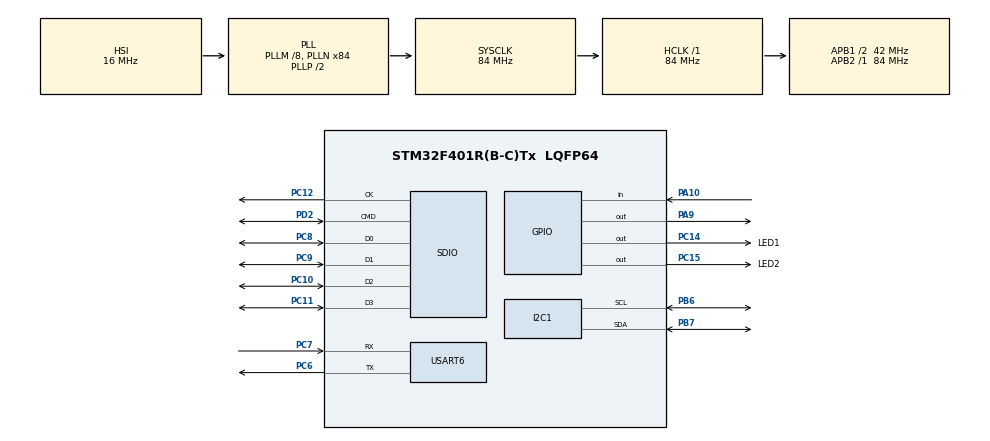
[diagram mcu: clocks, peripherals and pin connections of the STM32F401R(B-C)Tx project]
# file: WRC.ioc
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I2C1.I2C_Mode=I2C_Fast
Mcu.Family=STM32F4
Mcu.Name=STM32F401R(B-C)Tx
Mcu.Package=LQFP64
NVIC.PriorityGroup=NVIC_PRIORITYGROUP_4
NVIC.USART6_IRQn=true\:0\:0\:false\:false\:true\:true
PA10.Signal=GPIO_Input
PA13.Mode=Serial_Wire
PA13.Signal=SYS_JTMS-SWDIO
PA14.Mode=Serial_Wire
PA14.Signal=SYS_JTCK-SWCLK
PA9.Signal=GPIO_Output
PB6.Mode=I2C
PB6.Signal=I2C1_SCL
PB7.Mode=I2C
PB7.Signal=I2C1_SDA
PC10.GPIO_PuPd=GPIO_PULLUP
PC10.Mode=SD_4_bits_Wide_bus
PC10.Signal=SDIO_D2
PC11.GPIO_PuPd=GPIO_PULLUP
PC11.Mode=SD_4_bits_Wide_bus
PC11.Signal=SDIO_D3
PC12.GPIO_PuPd=GPIO_PULLUP
PC12.Mode=SD_4_bits_Wide_bus
PC12.Signal=SDIO_CK
PC14-OSC32_IN.GPIO_Label=LED1
PC14-OSC32_IN.Signal=GPIO_Output
PC15-OSC32_OUT.GPIO_Label=LED2
PC15-OSC32_OUT.Signal=GPIO_Output
PC6.Mode=Asynchronous
PC6.Signal=USART6_TX
PC7.Mode=Asynchronous
PC7.Signal=USART6_RX
PC8.GPIO_PuPd=GPIO_PULLUP
PC8.Mode=SD_4_bits_Wide_bus
PC8.Signal=SDIO_D0
PC9.GPIO_PuPd=GPIO_PULLUP
PC9.Mode=SD_4_bits_Wide_bus
PC9.Signal=SDIO_D1
PD2.GPIO_PuPd=GPIO_PULLUP
PD2.Mode=SD_4_bits_Wide_bus
PD2.Signal=SDIO_CMD
ProjectManager.HeapSize=0x200
ProjectManager.StackSize=0x400
ProjectManager.TargetToolchain=TrueSTUDIO
RCC.48MHZClocksFreq_Value=42000000
RCC.AHBFreq_Value=84000000
RCC.APB1CLKDivider=RCC_HCLK_DIV2
RCC.APB1Freq_Value=42000000
RCC.APB1TimFreq_Value=84000000
RCC.APB2Freq_Value=84000000
RCC.APB2TimFreq_Value=84000000
RCC.CortexFreq_Value=84000000
RCC.HCLKFreq_Value=84000000
RCC.HSE_VALUE=25000000
RCC.HSI_VALUE=16000000
RCC.LSE_VALUE=32768
RCC.PLLM=8
RCC.PLLN=84
RCC.SYSCLKFreq_VALUE=84000000
RCC.SYSCLKSource=RCC_SYSCLKSOURCE_PLLCLK
RCC.VCOOutputFreq_Value=168000000
SDIO.ClockDiv=5
TIM1.Period=65535
TIM1.Prescaler=84
USART6.VirtualMode=VM_ASYNC
VP_FATFS_VS_SDIO.Mode=SDIO
VP_TIM1_VS_ClockSourceINT.Mode=Internal
board=WRC

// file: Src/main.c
/* USER CODE BEGIN Header */
/**
  ******************************************************************************
  * @file           : main.c
  * @brief          : Main program body
  ******************************************************************************
  * This notice applies to any and all portions of this file
  * that are not between comment pairs USER CODE BEGIN and
  * USER CODE END. Other portions of this file, whether
  * inserted by the user or by software development tools
  * are owned by their respective copyright owners.
  *
  * Copyright (c) 2019 STMicroelectronics International N.V.
  * All rights reserved.
  *
  * Redistribution and use in source and binary forms, with or without
  * modification, are permitted, provided that the following conditions are met:
  *
  * 1. Redistribution of source code must retain the above copyright notice,
  *    this list of conditions and the following disclaimer.
  * 2. Redistributions in binary form must reproduce the above copyright notice,
  *    this list of conditions and the following disclaimer in the documentation
  *    and/or other materials provided with the distribution.
  * 3. Neither the name of STMicroelectronics nor the names of other
  *    contributors to this software may be used to endorse or promote products
  *    derived from this software without specific written permission.
  * 4. This software, including modifications and/or derivative works of this
  *    software, must execute solely and exclusively on microcontroller or
  *    microprocessor devices manufactured by or for STMicroelectronics.
  * 5. Redistribution and use of this software other than as permitted under
  *    this license is void and will automatically terminate your rights under
  *    this license.
  *
  * THIS SOFTWARE IS PROVIDED BY STMICROELECTRONICS AND CONTRIBUTORS "AS IS"
  * AND ANY EXPRESS, IMPLIED OR STATUTORY WARRANTIES, INCLUDING, BUT NOT
  * LIMITED TO, THE IMPLIED WARRANTIES OF MERCHANTABILITY, FITNESS FOR A
  * PARTICULAR PURPOSE AND NON-INFRINGEMENT OF THIRD PARTY INTELLECTUAL PROPERTY
  * RIGHTS ARE DISCLAIMED TO THE FULLEST EXTENT PERMITTED BY LAW. IN NO EVENT
  * SHALL STMICROELECTRONICS OR CONTRIBUTORS BE LIABLE FOR ANY DIRECT, INDIRECT,
  * INCIDENTAL, SPECIAL, EXEMPLARY, OR CONSEQUENTIAL DAMAGES (INCLUDING, BUT NOT
  * LIMITED TO, PROCUREMENT OF SUBSTITUTE GOODS OR SERVICES; LOSS OF USE, DATA,
  * OR PROFITS; OR BUSINESS INTERRUPTION) HOWEVER CAUSED AND ON ANY THEORY OF
  * LIABILITY, WHETHER IN CONTRACT, STRICT LIABILITY, OR TORT (INCLUDING
  * NEGLIGENCE OR OTHERWISE) ARISING IN ANY WAY OUT OF THE USE OF THIS SOFTWARE,
  * EVEN IF ADVISED OF THE POSSIBILITY OF SUCH DAMAGE.
  *
  ******************************************************************************
  */
  /* USER CODE END Header */

  /* Includes ------------------------------------------------------------------*/
#include "main.h"
#include "fatfs.h"

/* USER CODE BEGIN Includes */
#include "I2C.h"
#define UART_DEBUG	0	//取得したデータををUARTで送信するかどうか 0:送信しない 1:送信する　（初期化中は常に送信） 0の時はSDカードに記録はしない
#define WIRELESS 1		//無線で制御するかどうか	0:制御しない 1:制御する
#define WRC_VERSION 1.0 //バージョン
#define P0 1013.25		//海面気圧

/* USER CODE END Includes */

I2C_HandleTypeDef hi2c1;

SD_HandleTypeDef hsd;

TIM_HandleTypeDef htim1;

UART_HandleTypeDef huart6;

/* USER CODE BEGIN PV */
/* Private variables ---------------------------------------------------------*/
#ifdef __GNUC__
#define PUTCHAR_PROTOTYPE int __io_putchar(int ch)
#else
#define PUTCHAR_PROTOTYPE int fputc(int ch, FILE *f)
#endif /* __GNUC__ */
void __io_putchar(uint8_t ch) {
	HAL_UART_Transmit(&huart6, &ch, 1, 1);
}
/* USER CODE END PV */

void SystemClock_Config(void);
static void MX_GPIO_Init(void);
static void MX_SDIO_SD_Init(void);
static void MX_USART6_UART_Init(void);
static void MX_I2C1_Init(void);
static void MX_TIM1_Init(void);
/* USER CODE BEGIN PFP */
/* Private function prototypes -----------------------------------------------*/

/* USER CODE END PFP */

/* USER CODE BEGIN 0 */

uint8_t uart_rx_data;
uint8_t control_state = 0;

void HAL_UART_RxCpltCallback(UART_HandleTypeDef *huart6) {
	control_state = 1;
	if (uart_rx_data == 'R')control_state = 100;
	if (uart_rx_data == 'S')control_state = 101;
	if (uart_rx_data == 'H')control_state = 102;

	if (uart_rx_data == '0') {
		HAL_GPIO_WritePin(GPIOA, GPIO_PIN_9, GPIO_PIN_RESET);
		control_state = 103;
	}
	if (uart_rx_data == '1') {
		HAL_GPIO_WritePin(GPIOA, GPIO_PIN_9, GPIO_PIN_SET);
		control_state = 104;
	}

}

/* USER CODE END 0 */

int main(void) {
	/* USER CODE BEGIN 1 */
	uint8_t pData;

	/* USER CODE END 1 */

	/* MCU Configuration--------------------------------------------------------*/

	/* Reset of all peripherals, Initializes the Flash interface and the Systick. */
	HAL_Init();

	/* Configure the system clock */
	SystemClock_Config();

	/* Initialize all configured peripherals */
	MX_GPIO_Init();
	MX_SDIO_SD_Init();
	MX_USART6_UART_Init();
	MX_I2C1_Init();
	MX_FATFS_Init();
	MX_TIM1_Init();
	/* USER CODE BEGIN 2 */
	HAL_GPIO_WritePin(GPIOA, GPIO_PIN_9, GPIO_PIN_RESET);

	HAL_Delay(250);
	printf("\033[49m\033[36m\033[2J\033[0;0H");
	HAL_Delay(250);
	printf("Water rocket computer Ver%3.2f\n\033[39m", WRC_VERSION);
	printf("\033[39mSystem Initializing.");
	printf(".");

	//AK8963起動
	pData = 0x00; HAL_I2C_Mem_Write(&hi2c1, MPU9250_WRITE, MPU9250_PWR_MGMT_1, 1, &pData, 1, 100);
	pData = 0x02; HAL_I2C_Mem_Write(&hi2c1, MPU9250_WRITE, MPU9250_INT_PIN_CFG, 1, &pData, 1, 100);

	//MPU9250設定
	pData = 0b00001000; HAL_I2C_Mem_Write(&hi2c1, MPU9250_WRITE, MPU9250_GYRO_CONFIG, 1, &pData, 1, 100);//±500dps		43   00:±250 01:±500 10:±1000 11:±2000
	pData = 0b00011000; HAL_I2C_Mem_Write(&hi2c1, MPU9250_WRITE, MPU9250_ACCEL_CONFIG, 1, &pData, 1, 100);//±16G

	//AK8963設定
	pData = 0b00010110; HAL_I2C_Mem_Write(&hi2c1, AK8963_WRITE, AK8963_CNTL1, 1, &pData, 1, 100);//連続測定モード 100Hz

	//LPS25H設定
	pData = 0b11000000; HAL_I2C_Mem_Write(&hi2c1, LPS25H_WRITE, LPS25H_CTRL_REG1, 1, &pData, 1, 100);//25Hz

	//ADXL375設定
	pData = 0x08; HAL_I2C_Mem_Write(&hi2c1, ADXL375_WRITE, ADXL375_POWER_CTL, 1, &pData, 1, 100);//スリープ解除
	pData = 0x0B; HAL_I2C_Mem_Write(&hi2c1, ADXL375_WRITE, ADXL375_DATA_FORMAT, 1, &pData, 1, 100);//データ右詰め
	pData = 0b00001010; HAL_I2C_Mem_Write(&hi2c1, ADXL375_WRITE, ADXL375_BW_RATE, 1, &pData, 1, 100);//100Hz
	printf(".");

	printf("Done\n");

	//Who am I
	printf("Check I2C devices..");

	//セルフテスト
	while (1) {
		HAL_I2C_Mem_Read(&hi2c1, LPS25H_READ, LPS25H_WHO_AM_I, 1, &pData, 1, 100);
		if (pData != 0xBD)continue;
		HAL_I2C_Mem_Read(&hi2c1, MPU9250_READ, MPU9250_WHO_AM_I, 1, &pData, 1, 100);
		if (pData != 0x71)continue;
		HAL_I2C_Mem_Read(&hi2c1, AK8963_READ, AK8963_WIA, 1, &pData, 1, 100);
		if (pData != 0x48)continue;
		HAL_I2C_Mem_Read(&hi2c1, ADXL375_READ, ADXL375_DEVID, 1, &pData, 1, 100);
		if (pData != 0xE5)continue;
		HAL_Delay(250);
		printf(".");
		break;
	}
	printf("Successful\n");

	printf("SD card Initializing...");

	HAL_TIM_Base_Start(&htim1);
	HAL_Delay(100);

	//SDカード初期化
	FRESULT res;
	FATFS fs;
	DIR dir;
	FIL fil;
	char buf[128];
	int ret;
	const int MAX_FILE = 100;
	unsigned int c = 0;
	//SDカードを初期化できるまで待つ
	do {
		res = f_mount(&fs, "", 1);
		if (res != FR_OK) {
			printf("\033[5;0H\033[41m\033[2Kf_mount() : error %u", res);
			HAL_Delay(120);
		}

		res = f_opendir(&dir, "");
		if (res != FR_OK) {
			printf("\033[6;0H\033[41m\033[2Kf_opendir() : error %u", res);
			HAL_Delay(120);
		}
		HAL_Delay(800);
	} while (res != FR_OK);
	printf("\033[5;0H\033[49m\033[2K");
	HAL_Delay(120);
	printf("\033[6;0H\033[49m\033[2K");
	HAL_Delay(120);
	printf("\033[4;26H\033[49mSuccessful\n");

	//新しいファイルを作成
	for (c = 0; c < MAX_FILE; c++) {
		char path[30];
		sprintf(path, "%d.csv", c);
		res = f_open(&fil, path, FA_CREATE_NEW | FA_WRITE);
		if (res == FR_OK) {
			printf("\033[5;0H\033[49m\033[39m\033[2KFile Name : %d.csv", c);
			break;
		}
		if (c == MAX_FILE - 1) {
			res = f_open(&fil, "_.csv", FA_CREATE_ALWAYS | FA_WRITE);
			if (res != FR_OK) {
				printf("\033[5;0H\033[41m\033[2Kf_open() : error %u", res);
				HAL_Delay(120);
			} else {
				printf("\033[5;0H\033[49m\033[39m\033[2KFile Name : _.csv");
				HAL_Delay(120);
			}
		}
	}
	HAL_GPIO_WritePin(LED1_GPIO_Port, LED1_Pin, GPIO_PIN_SET);	//緑点灯　SD初期化完了

	char str[1024];
	sprintf(str, "dt[ns],press[hPa],temp[deg celsius],ax[m/s^2],ay[m/s^2],az[m/s^2],gx[deg/s],gy[deg/s],gz[deg/s],mx,my,mz,Ax[m/s^2],Ay[m/s^2],Az[m/s^2],servo,V,I\n");
	ret = f_puts(str, &fil);
	f_sync(&fil);

	printf("\033[6;0H\033[49m\033[39m\033[2K 0:LED Normal\n 1:LED Gameing\n R:Start\n S:Stop \n H:Set the current altitude to 0 m");

	HAL_UART_Receive_IT(&huart6, (uint8_t *)&uart_rx_data, 1);
	HAL_GPIO_WritePin(GPIOA, GPIO_PIN_9, GPIO_PIN_RESET);
	while (1) {
		if (control_state != 0)HAL_UART_Receive_IT(&huart6, (uint8_t *)&uart_rx_data, 1);
		if (control_state == 100)break;

	}

	HAL_GPIO_WritePin(GPIOA, GPIO_PIN_9, GPIO_PIN_SET);

	/* USER CODE END 2 */

	/* Infinite loop */
	/* USER CODE BEGIN WHILE */
	int t = 0, n = 0;
	TIM1->CNT = 0;
	double height, height_offset = 0;
	while (1) {
		/* USER CODE END WHILE */

		/* USER CODE BEGIN 3 */
		uint8_t data[18], servo;
		uint32_t	press;
		int16_t	temp, ax, ay, az, gx, gy, gz, mx, my, mz, Ax, Ay, Az;
		double	press_d, temp_d, ax_d, ay_d, az_d, gx_d, gy_d, gz_d, mx_d, my_d, mz_d, Ax_d, Ay_d, Az_d;

		//気圧
		press = 0;
		HAL_I2C_Mem_Read(&hi2c1, LPS25H_READ, LPS25H_PRESS_OUT_H, 1, &data, 1, 100);
		press = data[0] << 16;
		HAL_I2C_Mem_Read(&hi2c1, LPS25H_READ, LPS25H_PRESS_OUT_L, 1, &data, 1, 100);
		press |= data[0] << 8;
		HAL_I2C_Mem_Read(&hi2c1, LPS25H_READ, LPS25H_PRESS_OUT_XL, 1, &data, 1, 100);
		press |= data[0];
		press_d = (double)press / 4096.0;

		//気温
		HAL_I2C_Mem_Read(&hi2c1, LPS25H_READ, LPS25H_TEMP_OUT_H, 1, &data, 1, 100);
		temp = data[0] << 8;
		HAL_I2C_Mem_Read(&hi2c1, LPS25H_READ, LPS25H_TEMP_OUT_L, 1, &data, 1, 100);
		temp |= data[0];
		temp_d = (double)temp / 480 + 42.5;

		//9軸センサ
		HAL_I2C_Mem_Read(&hi2c1, MPU9250_READ, MPU9250_ACCEL_XOUT_H, 1, &data, 14, 100);
		ax = (data[0] << 8) | data[1];
		ay = (data[2] << 8) | data[3];
		az = (data[4] << 8) | data[5];
		gx = (data[8] << 8) | data[9];
		gy = (data[10] << 8) | data[11];
		gz = (data[12] << 8) | data[13];

		HAL_I2C_Mem_Read(&hi2c1, AK8963_READ, AK8963_HXL, 1, &data, 7, 100);
		my = data[0] | (data[1] << 8);
		mx = data[2] | (data[3] << 8);
		mz = data[4] | (data[5] << 8);
		mx *= -1;
		my *= -1;
		mz *= -1;

		ax_d = (double)ax *GRAVITY * 0.488 / 1000 * (-1.0);
		ay_d = (double)ay *GRAVITY * 0.488 / 1000 * (-1.0);
		az_d = (double)az *GRAVITY * 0.488 / 1000;
		gx_d = (double)gx * 0.01526* (-1.0);
		gy_d = (double)gy * 0.01526* (-1.0);
		gz_d = (double)gz * 0.01526;

		//加速度センサ
		HAL_I2C_Mem_Read(&hi2c1, ADXL375_READ, ADXL375_DATAX0, 1, &data, 6, 100);
		Ax = data[0] | (data[1] << 8);
		Ay = data[2] | (data[3] << 8);
		Az = data[4] | (data[5] << 8);
		Ax_d = (double)Ax *GRAVITY * 49 / 1000 * (-1.0);
		Ay_d = (double)Ay *GRAVITY * 49 / 1000 * (-1.0);
		Az_d = (double)Az *GRAVITY * 49 / 1000;

		//サーボ
		servo = HAL_GPIO_ReadPin(GPIOA, GPIO_PIN_10);

		//地上からの制御を処理する
		if (control_state != 0) {
			HAL_UART_Receive_IT(&huart6, (uint8_t *)&uart_rx_data, 1);
		}
		if (control_state == 101) {
			HAL_GPIO_WritePin(GPIOA, GPIO_PIN_9, GPIO_PIN_RESET);
			control_state = 0;
			break;
		}
		if (control_state == 102) {
			control_state = 0;
			height_offset = height;
		}
		if (control_state >= 100) {
			control_state = 0;
		}
		if (n == 20) {
			height = (((pow(P0 / press_d, 1 / 5.257) - 1)*(temp_d + 273.15)) / 0.0065) - height_offset;
		}
		if (n == 30) {
			printf("\033[10;0H\033[49m\033[33m\033[2K %d  %.1fm", servo,height);
		}
		if (n == 40) {
			printf("\033[30m ,%f,%f,%f,%f,%f,%f\n",
				Ax_d,
				Ay_d,
				Az_d,
				gx_d,
				gy_d,
				gz_d);
		}

		while (TIM1->CNT < 10000)
			;// 1/100sたつまで待つ
		t = TIM1->CNT;
		TIM1->CNT = 0;//タイマーを0にする
		sprintf(str,
			"%d,%f,%f,%f,%f,%f,%f,%f,%f,%d,%d,%d,%f,%f,%f,%d\n",
			t,
			press_d,
			temp_d,
			ax_d,
			ay_d,
			az_d,
			gx_d,
			gy_d,
			gz_d,
			mx,
			my,
			mz,
			Ax_d,
			Ay_d,
			Az_d,
			servo);

		n++;
		ret = f_puts(str, &fil);
		if (ret == EOF) {
			printf("\nf_puts() : error \n");
		}
		if (n == 50) {
			ret = f_sync(&fil);
			if (ret == FR_OK)HAL_GPIO_TogglePin(LED2_GPIO_Port, LED2_Pin);
			n = 0;

		}
	}
	while(1){

		if (HAL_UART_Receive(&huart6, (uint8_t *)&uart_rx_data, 1, 100) == HAL_OK) {
			if (uart_rx_data == '0') {
				HAL_GPIO_WritePin(GPIOA, GPIO_PIN_9, GPIO_PIN_RESET);
				control_state = 0;
			}
			if (uart_rx_data == '1') {
				HAL_GPIO_WritePin(GPIOA, GPIO_PIN_9, GPIO_PIN_SET);
				control_state = 0;
			}
		}
	}
	/* USER CODE END 3 */

}

void SystemClock_Config(void) {
	RCC_OscInitTypeDef RCC_OscInitStruct = { 0 };
	RCC_ClkInitTypeDef RCC_ClkInitStruct = { 0 };

	/**Configure the main internal regulator output voltage
	*/
	__HAL_RCC_PWR_CLK_ENABLE();
	__HAL_PWR_VOLTAGESCALING_CONFIG(PWR_REGULATOR_VOLTAGE_SCALE2);
	/**Initializes the CPU, AHB and APB busses clocks
	*/
	RCC_OscInitStruct.OscillatorType = RCC_OSCILLATORTYPE_HSI;
	RCC_OscInitStruct.HSIState = RCC_HSI_ON;
	RCC_OscInitStruct.HSICalibrationValue = RCC_HSICALIBRATION_DEFAULT;
	RCC_OscInitStruct.PLL.PLLState = RCC_PLL_ON;
	RCC_OscInitStruct.PLL.PLLSource = RCC_PLLSOURCE_HSI;
	RCC_OscInitStruct.PLL.PLLM = 8;
	RCC_OscInitStruct.PLL.PLLN = 84;
	RCC_OscInitStruct.PLL.PLLP = RCC_PLLP_DIV2;
	RCC_OscInitStruct.PLL.PLLQ = 4;
	if (HAL_RCC_OscConfig(&RCC_OscInitStruct) != HAL_OK) {
		Error_Handler();
	}
	/**Initializes the CPU, AHB and APB busses clocks
	*/
	RCC_ClkInitStruct.ClockType = RCC_CLOCKTYPE_HCLK | RCC_CLOCKTYPE_SYSCLK
		| RCC_CLOCKTYPE_PCLK1 | RCC_CLOCKTYPE_PCLK2;
	RCC_ClkInitStruct.SYSCLKSource = RCC_SYSCLKSOURCE_PLLCLK;
	RCC_ClkInitStruct.AHBCLKDivider = RCC_SYSCLK_DIV1;
	RCC_ClkInitStruct.APB1CLKDivider = RCC_HCLK_DIV2;
	RCC_ClkInitStruct.APB2CLKDivider = RCC_HCLK_DIV1;

	if (HAL_RCC_ClockConfig(&RCC_ClkInitStruct, FLASH_LATENCY_2) != HAL_OK) {
		Error_Handler();
	}
}

static void MX_I2C1_Init(void) {

	hi2c1.Instance = I2C1;
	hi2c1.Init.ClockSpeed = 400000;
	hi2c1.Init.DutyCycle = I2C_DUTYCYCLE_2;
	hi2c1.Init.OwnAddress1 = 0;
	hi2c1.Init.AddressingMode = I2C_ADDRESSINGMODE_7BIT;
	hi2c1.Init.DualAddressMode = I2C_DUALADDRESS_DISABLE;
	hi2c1.Init.OwnAddress2 = 0;
	hi2c1.Init.GeneralCallMode = I2C_GENERALCALL_DISABLE;
	hi2c1.Init.NoStretchMode = I2C_NOSTRETCH_DISABLE;
	if (HAL_I2C_Init(&hi2c1) != HAL_OK) {
		Error_Handler();
	}

}

static void MX_SDIO_SD_Init(void) {

	hsd.Instance = SDIO;
	hsd.Init.ClockEdge = SDIO_CLOCK_EDGE_RISING;
	hsd.Init.ClockBypass = SDIO_CLOCK_BYPASS_DISABLE;
	hsd.Init.ClockPowerSave = SDIO_CLOCK_POWER_SAVE_DISABLE;
	hsd.Init.BusWide = SDIO_BUS_WIDE_1B;
	hsd.Init.HardwareFlowControl = SDIO_HARDWARE_FLOW_CONTROL_DISABLE;
	hsd.Init.ClockDiv = 5;

}

static void MX_TIM1_Init(void) {

	TIM_ClockConfigTypeDef sClockSourceConfig = { 0 };
	TIM_MasterConfigTypeDef sMasterConfig = { 0 };

	htim1.Instance = TIM1;
	htim1.Init.Prescaler = 84;
	htim1.Init.CounterMode = TIM_COUNTERMODE_UP;
	htim1.Init.Period = 65535;
	htim1.Init.ClockDivision = TIM_CLOCKDIVISION_DIV1;
	htim1.Init.RepetitionCounter = 0;
	if (HAL_TIM_Base_Init(&htim1) != HAL_OK) {
		Error_Handler();
	}
	sClockSourceConfig.ClockSource = TIM_CLOCKSOURCE_INTERNAL;
	if (HAL_TIM_ConfigClockSource(&htim1, &sClockSourceConfig) != HAL_OK) {
		Error_Handler();
	}
	sMasterConfig.MasterOutputTrigger = TIM_TRGO_RESET;
	sMasterConfig.MasterSlaveMode = TIM_MASTERSLAVEMODE_DISABLE;
	if (HAL_TIMEx_MasterConfigSynchronization(&htim1, &sMasterConfig) != HAL_OK) {
		Error_Handler();
	}

}

static void MX_USART6_UART_Init(void) {

	huart6.Instance = USART6;
	huart6.Init.BaudRate = 115200;
	huart6.Init.WordLength = UART_WORDLENGTH_8B;
	huart6.Init.StopBits = UART_STOPBITS_1;
	huart6.Init.Parity = UART_PARITY_NONE;
	huart6.Init.Mode = UART_MODE_TX_RX;
	huart6.Init.HwFlowCtl = UART_HWCONTROL_NONE;
	huart6.Init.OverSampling = UART_OVERSAMPLING_16;
	if (HAL_UART_Init(&huart6) != HAL_OK) {
		Error_Handler();
	}

}

static void MX_GPIO_Init(void) {
	GPIO_InitTypeDef GPIO_InitStruct = { 0 };

	/* GPIO Ports Clock Enable */
	__HAL_RCC_GPIOC_CLK_ENABLE();
	__HAL_RCC_GPIOA_CLK_ENABLE();
	__HAL_RCC_GPIOD_CLK_ENABLE();
	__HAL_RCC_GPIOB_CLK_ENABLE();

	/*Configure GPIO pin Output Level */
	HAL_GPIO_WritePin(GPIOC, LED1_Pin | LED2_Pin, GPIO_PIN_RESET);

	/*Configure GPIO pin Output Level */
	HAL_GPIO_WritePin(GPIOA, GPIO_PIN_9, GPIO_PIN_RESET);

	/*Configure GPIO pins : LED1_Pin LED2_Pin */
	GPIO_InitStruct.Pin = LED1_Pin | LED2_Pin;
	GPIO_InitStruct.Mode = GPIO_MODE_OUTPUT_PP;
	GPIO_InitStruct.Pull = GPIO_NOPULL;
	GPIO_InitStruct.Speed = GPIO_SPEED_FREQ_LOW;
	HAL_GPIO_Init(GPIOC, &GPIO_InitStruct);

	/*Configure GPIO pin : PA9 */
	GPIO_InitStruct.Pin = GPIO_PIN_9;
	GPIO_InitStruct.Mode = GPIO_MODE_OUTPUT_PP;
	GPIO_InitStruct.Pull = GPIO_NOPULL;
	GPIO_InitStruct.Speed = GPIO_SPEED_FREQ_LOW;
	HAL_GPIO_Init(GPIOA, &GPIO_InitStruct);

	/*Configure GPIO pin : PA10 */
	GPIO_InitStruct.Pin = GPIO_PIN_10;
	GPIO_InitStruct.Mode = GPIO_MODE_INPUT;
	GPIO_InitStruct.Pull = GPIO_NOPULL;
	HAL_GPIO_Init(GPIOA, &GPIO_InitStruct);

}

void Error_Handler(void) {
	while (1) {
	}
}

/************************ (C) COPYRIGHT STMicroelectronics *****END OF FILE****/
